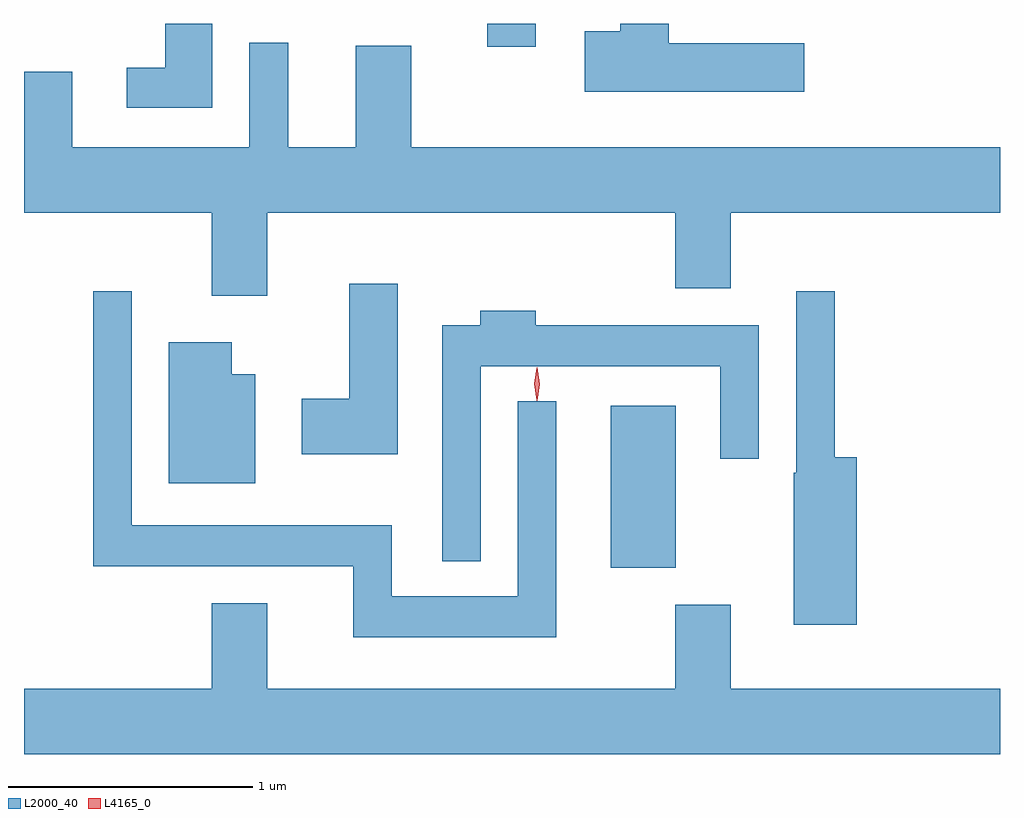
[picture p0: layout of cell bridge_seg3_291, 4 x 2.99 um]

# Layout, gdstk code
import gdstk
lib = gdstk.Library(unit=1e-6, precision=1e-09)
def R(c, l, rs):  # rectangles x0, y0, x1, y1
    for r in rs: c.add(gdstk.rectangle(r[:2], r[2:], *l))
def P(c, l, *ps):  # polygons
    for p in ps: c.add(gdstk.Polygon(p, *l))
L2000_40 = (2000, 40)
L4165_0 = (4165, 0)

bridge_seg3_291 = lib.new_cell('bridge_seg3_291')
R(bridge_seg3_291, L2000_40, [(1026.296,1129.001,1026.564,1129.664), (1025.791,1131.136,1025.989,1131.23)])
P(bridge_seg3_291, L2000_40, [(1024.664,1131.23),(1024.471,1131.23),(1024.471,1131.049),(1024.313,1131.049),(1024.313,1130.886),(1024.664,1130.886)],
  [(1027.089,1131.149),(1026.534,1131.149),(1026.534,1131.23),(1026.336,1131.23),(1026.336,1131.199),(1026.191,1131.199),(1026.191,1130.951),(1027.089,1130.951)],
  [(1024.889,1130.456),(1026.561,1130.456),(1026.561,1130.146),(1026.789,1130.146),(1026.789,1130.456),(1027.892,1130.456),(1027.892,1130.724),(1025.479,1130.724),(1025.479,1131.139),(1025.251,1131.139),(1025.251,1130.724),(1024.974,1130.724),(1024.974,1131.153),(1024.816,1131.153),(1024.816,1130.724),(1024.089,1130.724),(1024.089,1131.034),(1023.892,1131.034),(1023.892,1130.456),(1024.661,1130.456),(1024.661,1130.116),(1024.889,1130.116)],
  [(1025.424,1130.164),(1025.226,1130.164),(1025.226,1129.694),(1025.031,1129.694),(1025.031,1129.466),(1025.424,1129.466)],
  [(1027.304,1129.454),(1027.214,1129.454),(1027.214,1130.133),(1027.056,1130.133),(1027.056,1129.39),(1027.046,1129.39),(1027.046,1128.766),(1027.304,1128.766)],
  [(1026.074,1129.683),(1025.916,1129.683),(1025.916,1128.884),(1025.399,1128.884),(1025.399,1129.174),(1024.334,1129.174),(1024.334,1130.133),(1024.176,1130.133),(1024.176,1129.006),(1025.241,1129.006),(1025.241,1128.716),(1026.074,1128.716)],
  [(1025.764,1129.826),(1026.746,1129.826),(1026.746,1129.448),(1026.904,1129.448),(1026.904,1129.994),(1025.989,1129.994),(1025.989,1130.054),(1025.761,1130.054),(1025.761,1129.994),(1025.606,1129.994),(1025.606,1129.028),(1025.764,1129.028)],
  [(1024.839,1129.794),(1024.744,1129.794),(1024.744,1129.924),(1024.486,1129.924),(1024.486,1129.346),(1024.839,1129.346)],
  [(1027.892,1128.504),(1026.789,1128.504),(1026.789,1128.849),(1026.561,1128.849),(1026.561,1128.504),(1024.889,1128.504),(1024.889,1128.854),(1024.661,1128.854),(1024.661,1128.504),(1023.892,1128.504),(1023.892,1128.236),(1027.892,1128.236)])
P(bridge_seg3_291, L4165_0, [(1025.994,1129.684),(1025.985,1129.754),(1025.995,1129.822),(1025.996,1129.823),(1025.996,1129.822),(1026.005,1129.753),(1025.995,1129.684),(1025.995,1129.684)],
  [(1025.993,1129.687),(1025.984,1129.754),(1025.993,1129.82),(1025.994,1129.821),(1025.994,1129.82),(1026.004,1129.754),(1025.994,1129.687),(1025.994,1129.687)])

lib.write_gds('bridge_seg3_291.gds')
